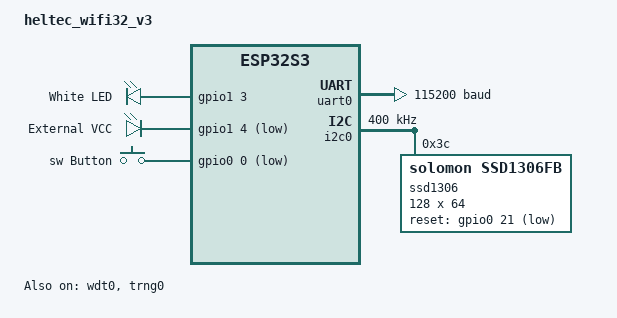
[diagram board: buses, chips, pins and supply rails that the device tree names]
/*
 * Copyright (c) 2022 Espressif Systems (Shanghai) Co., Ltd.
 *
 * SPDX-License-Identifier: Apache-2.0
 */
/dts-v1/;

#include <espressif/esp32s3.dtsi>
#include "heltec_wifi32_v3-pinctrl.dtsi"

/ {
	model = "heltec_wifi32_v3";
	compatible = "espressif,esp32s3";

	aliases {
		i2c-0 = &i2c0;
		watchdog0 = &wdt0;
		led0 = &led0;
		sw0 = &button0;
		watchdog0 = &wdt0;
	};

	chosen {
		zephyr,sram = &sram0;
		zephyr,console = &uart0;
		zephyr,shell-uart = &uart0;
		zephyr,flash = &flash0;
	};
	leds {
		compatible = "gpio-leds";
		led0: led {
			gpios = <&gpio1 3 GPIO_ACTIVE_HIGH>;
			label = "White LED";
		};

		vext: vext {
			gpios = <&gpio1 4 (GPIO_PULL_UP | GPIO_ACTIVE_LOW)>;
			label = "External VCC";
		};
	};

	buttons {
		compatible = "gpio-keys";
		button0: button_0 {
			gpios = <&gpio0 0 (GPIO_PULL_UP | GPIO_ACTIVE_LOW)>;
			label = "sw Button";
		};
	};
};

&cpu0 {
	clock-frequency = <ESP32_CLK_CPU_240M>;
};

&cpu1 {
	clock-frequency = <ESP32_CLK_CPU_240M>;
};

&uart0 {
	status = "okay";
	current-speed = <115200>;
	pinctrl-0 = <&uart0_default>;
	pinctrl-names = "default";
};

&gpio0 {
	status = "okay";
};

&gpio1 {
	status = "okay";
};

&i2c0 {
	status = "okay";
	clock-frequency = <I2C_BITRATE_FAST>;
	pinctrl-0 = <&i2c0_default>;
	pinctrl-names = "default";

      ssd1306: ssd1306@3c {
      	   compatible = "solomon,ssd1306fb";
	       reg = <0x3c>;
	       height = <64>;
	       width = <128>;
	       segment-offset = <0>;
	       page-offset = <0>;
	       display-offset = <0>;
	       multiplex-ratio = <63>;
	       prechargep = <0x22>;
	       com-invdir;
	       segment-remap;
		   reset-gpios =<&gpio0 21  GPIO_ACTIVE_LOW>;
      };
};      

&timer0 {
	status = "disabled";
};

&timer1 {
	status = "disabled";
};

&timer2 {
	status = "disabled";
};

&timer3 {
	status = "disabled";
};

&wdt0 {
	status = "okay";
};

&trng0 {
	status = "okay";
};

&flash0 {
	status = "okay";
	partitions {
		compatible = "fixed-partitions";
		#address-cells = <1>;
		#size-cells = <1>;

		/* Reserve 64kB for the bootloader */
		boot_partition: partition@0 {
			label = "mcuboot";
			reg = <0x00000000 0x00010000>;
			read-only;
		};

		/* Reserve 1024kB for the application in slot 0 */
		slot0_partition: partition@10000 {
			label = "image-0";
			reg = <0x00010000 0x00100000>;
		};

		/* Reserve 1024kB for the application in slot 1 */
		slot1_partition: partition@110000 {
			label = "image-1";
			reg = <0x00110000 0x00100000>;
		};

		/* Reserve 256kB for the scratch partition */
		scratch_partition: partition@210000 {
			   label = "image-scratch";
			   reg = <0x00210000 0x00040000>;
		};

		storage_partition: partition@250000 {
			label = "storage";
			reg = <0x00250000 0x00006000>;
		};
	};
};
/* Required by the ssd1306_128x64 shield which enables the OLED display */
arduino_i2c: &i2c0 {};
